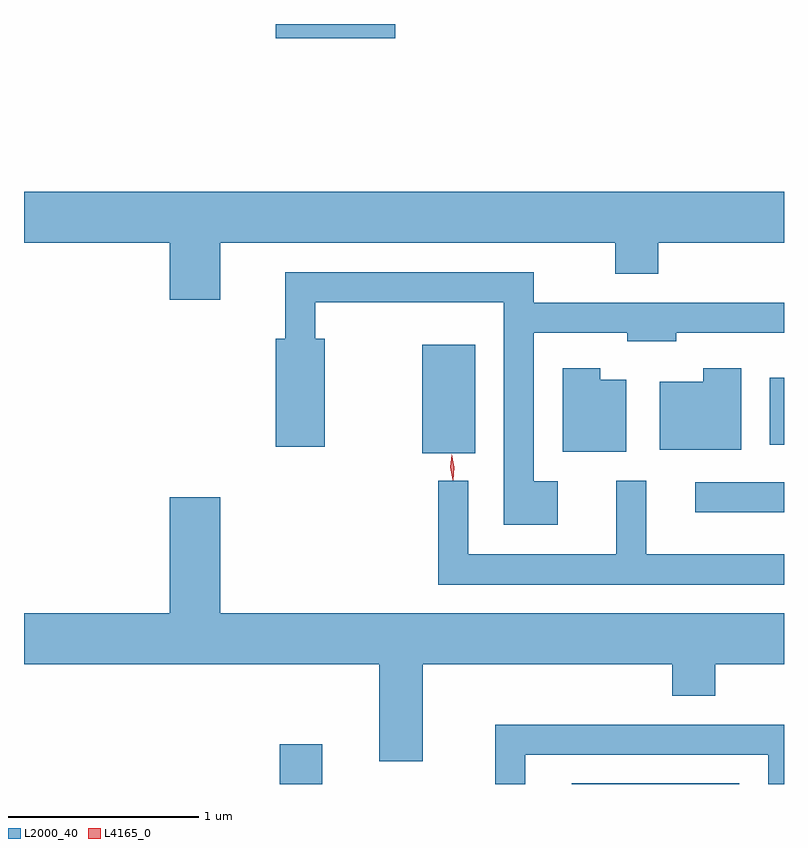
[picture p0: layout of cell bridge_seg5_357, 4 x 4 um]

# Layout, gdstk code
import gdstk
lib = gdstk.Library(unit=1e-6, precision=1e-09)
def R(c, l, rs):  # rectangles x0, y0, x1, y1
    for r in rs: c.add(gdstk.rectangle(r[:2], r[2:], *l))
def P(c, l, *ps):  # polygons
    for p in ps: c.add(gdstk.Polygon(p, *l))
L2000_40 = (2000, 40)
L4165_0 = (4165, 0)

bridge_seg5_357 = lib.new_cell('bridge_seg5_357')
R(bridge_seg5_357, L2000_40, [(595.276,1496.126,595.499,1496.334), (596.813,1496.126,597.694,1496.129), (597.463,1497.556,597.93,1497.714), (596.026,1497.866,596.304,1498.439), (597.856,1497.911,597.93,1498.264), (595.256,1500.051,595.884,1500.126)])
P(bridge_seg5_357, L2000_40, [(594.964,1498.976),(597.041,1498.976),(597.041,1498.811),(597.269,1498.811),(597.269,1498.976),(597.93,1498.976),(597.93,1499.244),(593.93,1499.244),(593.93,1498.976),(594.696,1498.976),(594.696,1498.676),(594.964,1498.676)],
  [(596.739,1497.719),(596.614,1497.719),(596.614,1498.501),(597.106,1498.501),(597.106,1498.456),(597.364,1498.456),(597.364,1498.501),(597.93,1498.501),(597.93,1498.659),(596.614,1498.659),(596.614,1498.819),(595.306,1498.819),(595.306,1498.469),(595.256,1498.469),(595.256,1497.901),(595.514,1497.901),(595.514,1498.469),(595.464,1498.469),(595.464,1498.661),(596.456,1498.661),(596.456,1497.491),(596.739,1497.491)],
  [(597.704,1498.314),(597.506,1498.314),(597.506,1498.244),(597.276,1498.244),(597.276,1497.886),(597.704,1497.886)],
  [(597.099,1498.254),(596.964,1498.254),(596.964,1498.314),(596.766,1498.314),(596.766,1497.876),(597.099,1497.876)],
  [(597.93,1497.334),(597.204,1497.334),(597.204,1497.723),(597.046,1497.723),(597.046,1497.334),(596.269,1497.334),(596.269,1497.723),(596.111,1497.723),(596.111,1497.176),(597.93,1497.176)],
  [(596.029,1496.756),(597.341,1496.756),(597.341,1496.591),(597.569,1496.591),(597.569,1496.756),(597.93,1496.756),(597.93,1497.024),(594.964,1497.024),(594.964,1497.634),(594.696,1497.634),(594.696,1497.024),(593.93,1497.024),(593.93,1496.756),(595.801,1496.756),(595.801,1496.246),(596.029,1496.246)],
  [(596.569,1496.281),(597.846,1496.281),(597.846,1496.126),(597.93,1496.126),(597.93,1496.439),(596.411,1496.439),(596.411,1496.126),(596.569,1496.126)])
P(bridge_seg5_357, L4165_0, [(596.186,1497.728),(596.186,1497.728),(596.174,1497.793),(596.182,1497.859),(596.182,1497.859),(596.182,1497.859),(596.194,1497.794),(596.186,1497.728)],
  [(596.187,1497.724),(596.187,1497.725),(596.175,1497.793),(596.182,1497.861),(596.182,1497.862),(596.182,1497.861),(596.194,1497.793),(596.188,1497.725)])

lib.write_gds('bridge_seg5_357.gds')
